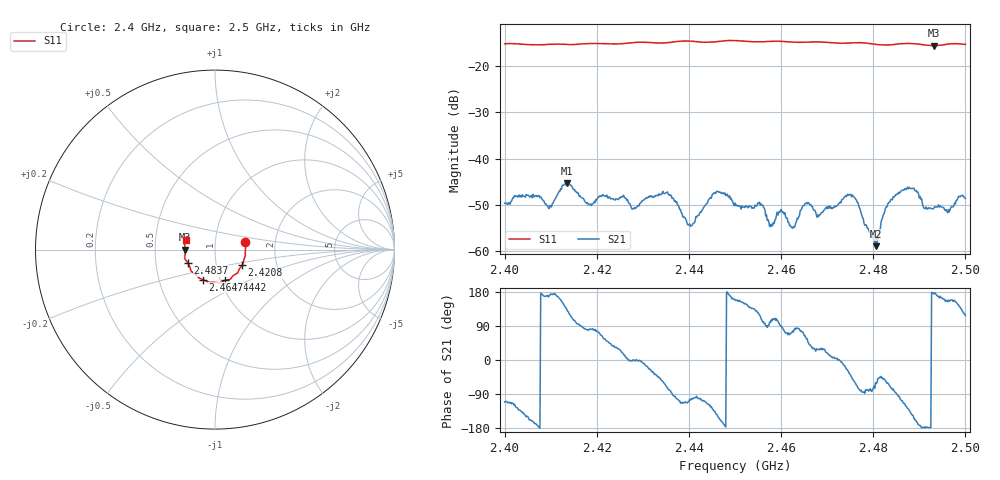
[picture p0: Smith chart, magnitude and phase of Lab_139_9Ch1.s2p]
# Hz S RI R 50
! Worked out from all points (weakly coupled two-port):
!   601 points, 2.4 GHz to 2.5 GHz, reference 50 ohm
!   highest |S21| = -45.34 dB at 2.4135 GHz (marker M1); lowest = -58.9 dB at 2.4805 GHz (marker M2)
!   lowest |S11| = -15.6 dB at 2.4932 GHz (marker M3), VSWR 1.40, Z = 35.8 - j0.0956 ohm
!   |S11| at or under -10 dB: start of sweep to end of sweep
!   S12 and S22 are empty: the file has one direction only
!   S11 on the Smith chart (normalised r, x): 2.4 GHz: 1.40, +0.12; 2.4208 GHz: 1.33, -0.24; 2.4442 GHz: 1.05, -0.37; 2.4647 GHz: 0.83, -0.29; 2.4837 GHz: 0.73, -0.11; 2.5 GHz: 0.72, +0.08
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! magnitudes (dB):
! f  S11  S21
! 2.4 GHz  -15.2  -49.6
! 2.4097 GHz  -15.3  -50.8
! 2.4135 GHz  -15.4  -45.3
! 2.4167 GHz  -15.2  -48.4
! 2.4208 GHz  -15.2  -48.1
! 2.428 GHz  -15.0  -50.8
! 2.4333 GHz  -15.1  -48.0
! 2.4357 GHz  -14.9  -47.9
! 2.4402 GHz  -14.6  -54.1
! 2.4442 GHz  -14.9  -49.0
! 2.45 GHz  -14.5  -49.6
! 2.4603 GHz  -14.7  -51.6
! 2.4625 GHz  -14.8  -55.0
! 2.4647 GHz  -14.9  -50.2
! 2.4667 GHz  -14.8  -50.4
! 2.4753 GHz  -15.0  -48.2
! 2.4805 GHz  -15.3  -58.9
! 2.4833 GHz  -15.5  -49.5
! 2.4837 GHz  -15.5  -49.2
! 2.4883 GHz  -15.2  -46.5
! 2.4932 GHz  -15.6  -50.7
! 2.5 GHz  -15.3  -48.6
